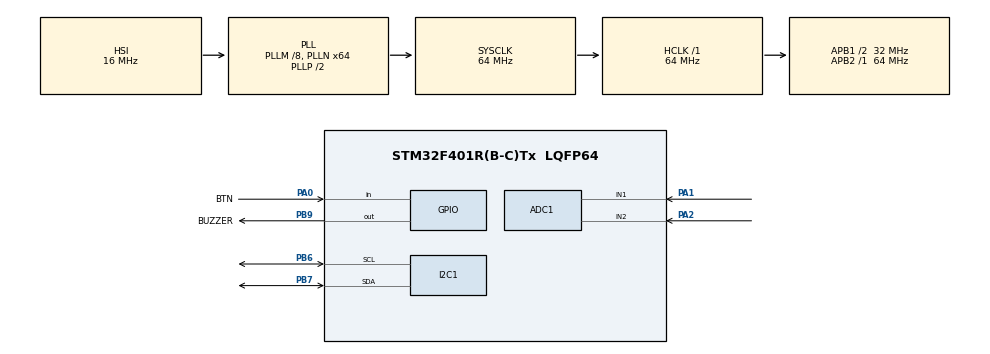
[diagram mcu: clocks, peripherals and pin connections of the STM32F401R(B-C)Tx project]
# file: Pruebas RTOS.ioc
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ADC1.Channel-0\#ChannelRegularConversion=ADC_CHANNEL_1
ADC1.NbrOfConversionFlag=1
ADC1.Rank-0\#ChannelRegularConversion=1
ADC1.SamplingTime-0\#ChannelRegularConversion=ADC_SAMPLETIME_3CYCLES
ADC1.master=1
I2C1.I2C_Mode=I2C_Fast
Mcu.Family=STM32F4
Mcu.Name=STM32F401R(B-C)Tx
Mcu.Package=LQFP64
NVIC.PriorityGroup=NVIC_PRIORITYGROUP_4
PA0-WKUP.GPIO_Label=BTN
PA0-WKUP.GPIO_PuPd=GPIO_PULLUP
PA0-WKUP.Signal=GPIO_Input
PA1.Signal=ADCx_IN1
PA2.Signal=ADCx_IN2
PB6.Mode=I2C
PB6.Signal=I2C1_SCL
PB7.Mode=I2C
PB7.Signal=I2C1_SDA
PB9.GPIO_Label=BUZZER
PB9.Signal=GPIO_Output
ProjectManager.HeapSize=0x200
ProjectManager.StackSize=0x400
ProjectManager.TargetToolchain=STM32CubeIDE
RCC.48MHZClocksFreq_Value=32000000
RCC.AHBFreq_Value=64000000
RCC.APB1CLKDivider=RCC_HCLK_DIV2
RCC.APB1Freq_Value=32000000
RCC.APB1TimFreq_Value=64000000
RCC.APB2Freq_Value=64000000
RCC.APB2TimFreq_Value=64000000
RCC.CortexFreq_Value=64000000
RCC.HCLKFreq_Value=64000000
RCC.HSE_VALUE=25000000
RCC.HSI_VALUE=16000000
RCC.LSE_VALUE=32768
RCC.PLLM=8
RCC.PLLN=64
RCC.SYSCLKFreq_VALUE=64000000
RCC.SYSCLKSource=RCC_SYSCLKSOURCE_PLLCLK
RCC.VCOOutputFreq_Value=128000000
SH.ADCx_IN1.0=ADC1_IN1,IN1
SH.ADCx_IN2.0=ADC1_IN2,IN2
board=custom

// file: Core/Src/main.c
/* USER CODE BEGIN Header */
/**
  ******************************************************************************
  * @file           : main.c
  * @brief          : Main program body
  ******************************************************************************
  * @attention
  *
  * Copyright (c) 2025 STMicroelectronics.
  * All rights reserved.
  *
  * This software is licensed under terms that can be found in the LICENSE file
  * in the root directory of this software component.
  * If no LICENSE file comes with this software, it is provided AS-IS.
  *
  ******************************************************************************
  */
/* USER CODE END Header */
#include "main.h"

/* USER CODE BEGIN Includes */
#include "RTOS.h"		// definicion de la libreria del RTOS
#include "AppTypes.h"	// definicion de las variables definidas
#include "ssd1306.h"	// definicion de la pantalla oled
#include "ssd1306_fonts.h" // definicion de fuentes
#include "stdlib.h"		// definicion para variables y absolutos
#include "stdio.h"		// definicion entradas y salidas
#include "string.h"		// definicion de funciones strings
/* USER CODE END Includes */

/* USER CODE BEGIN PTD */
typedef struct
{
	float ballX, ballY;					// posicion de la pelota en X y Y
	int ballRadio;						// radio de la pelota, si es circulo, puede ser la mitad del lado del cuadrado
	float ballSpeedX, ballSpeedY;		// velocidad de la pelota en X y Y
	int paddle1Y, paddle2Y;				// posicion de la raqueta izquierda y derecha, en esto se toma en la parte superiror izquierda
	int paddle_width, paddle_height;	// ancho y largo de la raqueta
	int score1, score2;					// marcador de la izquierda y la derecha
	u8 isRunning;						// si esta en ejecucion
	u8 resetBall;						// si se necesita resetear la pelota
}GameState_t;
/* USER CODE END PTD */

/* USER CODE BEGIN PD */
#define SCREEN_WIDTH 128	// ancho de la pantalla
#define SCREEN_HEIGHT 64	// alto de la pantalla

#define BIT_BTN_PRESSED		( 1 << 0)	// Input del boton

#define BIT_SND_START		(1 << 0)	// bit inicio
#define BIT_SND_PADDLE      (1 << 1)	// bit raqueta
#define BIT_SND_WALL        (1 << 2)	// bit muro
#define BIT_SND_SCORE       (1 << 3)	// bit gol
#define BIT_SND_MENU        (1 << 4)	// bit menu

#define BALL_SPEED		2.0f	// velocidad del juego

#define STACK_SIZE_HIGH		256
#define STACK_SIZE_MEDIUM	128
#define STACK_SIZE_LOW		64

// --- PANTALLA (I2C1) ---
// Definido por hardware en PB6 y PB7, no requiere define manual si usas HAL I2C

// --- ENTRADAS ANALÓGICAS ---
// Canales ADC1
#define POT1_CHANNEL    ADC_CHANNEL_1  // PA1
#define POT2_CHANNEL    ADC_CHANNEL_2  // PA2

// --- BOTÓN (PA0 - Botón KEY integrado) ---
#define BTN_PIN         GPIO_PIN_0
#define BTN_PORT        GPIOA

// --- BUZZER (PB12) ---
#define BUZZER_PIN      GPIO_PIN_12
#define BUZZER_PORT     GPIOB

// --- LED DE LA PLACA (PC13 - Lógica Invertida: LOW=ON) ---
#define LED_PIN         GPIO_PIN_13
#define LED_PORT        GPIOC
/* USER CODE END PD */

ADC_HandleTypeDef hadc1;

I2C_HandleTypeDef hi2c1;

/* USER CODE BEGIN PV */

// Creacion de las tareas
TaskControlBlock_t TcbInput;			// variable de control de tarea input
u32 StackInput[STACK_SIZE_LOW];			// variable de la pila de tarea input
TaskControlBlock_t TcbLogic;			// variable de control de tarea logica
u32 StackLogic[STACK_SIZE_MEDIUM];		// variable de la pila de tarea logica
TaskControlBlock_t TcbDisplay;			// variable de control de tarea display
u32 StackDisplay[STACK_SIZE_HIGH];		// variable de la pila de tarea display
TaskControlBlock_t TcbSound;			// variable de control de tarea sonido
u32 StackSound[STACK_SIZE_LOW];			// variable de la pila de tarea sonido

// Creacion de mutex
MutexHandler_t MutexJuego;				// mutex para manerar variables del juego entre logica input
EventHandler_t EventosSonido;			// eventos de sonido para cada colicion
EventHandler_t EventosInput;			// evento de entrada del boton para cambiar de start a menu

// variable global del juego
GameState_t Game;
/* USER CODE END PV */

void SystemClock_Config(void);
static void MX_GPIO_Init(void);
static void MX_ADC1_Init(void);
static void MX_I2C1_Init(void);
/* USER CODE BEGIN PFP */
// funciones de las tareas
void Tarea_Input(void);					// tarea de entrada
void Tarea_GameLogic(void);				// tarea logica del juego
void Tarea_Display(void);				// tarea del display
void Tarea_Sound(void);					// tarea del sonido

// funciones secundarias
void ResetBall(void);					// funcion de reseteo
void GenerarTono(u32 frecuencia, u32 duracion_ms);
void DrawMenu(int s1, int s2);	// funcion dibujo pantalla menu
void DrawGame(GameState_t *localGame);			// funcion dibujo pantalla jugable
/* USER CODE END PFP */

int main(void)
{

  /* MCU Configuration--------------------------------------------------------*/

  /* Reset of all peripherals, Initializes the Flash interface and the Systick. */
  HAL_Init();

  /* USER CODE BEGIN Init */
  ssd1306_Init();
  ssd1306_Fill(Black);
  ssd1306_UpdateScreen();

  Game.isRunning = FALSE;
  Game.resetBall = TRUE;
  Game.ballRadio = 3;
  Game.paddle_height = 12;
  Game.paddle_width = 4;
  Game.score1 = 0;
  Game.score2 = 0;
  /* USER CODE END Init */

  /* Configure the system clock */
  SystemClock_Config();

  /* Initialize all configured peripherals */
  MX_GPIO_Init();
  MX_ADC1_Init();
  MX_I2C1_Init();
  /* USER CODE BEGIN 2 */
  RTOS_Init();
  Mutex_Init(&MutexJuego);
  Events_Init(&EventosSonido);
  Events_Init(&EventosInput);
// tarea()
  Task_CreateTask(&TcbInput,"Tarea entrada de datos", 1, 1, StackInput, STACK_SIZE_LOW, Tarea_Input);
  Task_CreateTask(&TcbLogic,"Tarea logica de juego", 2, 2, StackLogic, STACK_SIZE_MEDIUM, Tarea_GameLogic);
  Task_CreateTask(&TcbDisplay,"Tarea visualizacion display", 3, 3, StackDisplay, STACK_SIZE_HIGH, Tarea_Display);
  Task_CreateTask(&TcbSound,"Tarea de sonido", 4, 4, StackSound, STACK_SIZE_LOW, Tarea_Sound);
  RTOS_Start();
  /* USER CODE END 2 */

  /* Infinite loop */
  while (1)
  {

  }
}

void SystemClock_Config(void)
{
  RCC_OscInitTypeDef RCC_OscInitStruct = {0};
  RCC_ClkInitTypeDef RCC_ClkInitStruct = {0};

  /** Configure the main internal regulator output voltage
  */
  __HAL_RCC_PWR_CLK_ENABLE();
  __HAL_PWR_VOLTAGESCALING_CONFIG(PWR_REGULATOR_VOLTAGE_SCALE2);

  /** Initializes the RCC Oscillators according to the specified parameters
  * in the RCC_OscInitTypeDef structure.
  */
  RCC_OscInitStruct.OscillatorType = RCC_OSCILLATORTYPE_HSI;
  RCC_OscInitStruct.HSIState = RCC_HSI_ON;
  RCC_OscInitStruct.HSICalibrationValue = RCC_HSICALIBRATION_DEFAULT;
  RCC_OscInitStruct.PLL.PLLState = RCC_PLL_ON;
  RCC_OscInitStruct.PLL.PLLSource = RCC_PLLSOURCE_HSI;
  RCC_OscInitStruct.PLL.PLLM = 8;
  RCC_OscInitStruct.PLL.PLLN = 64;
  RCC_OscInitStruct.PLL.PLLP = RCC_PLLP_DIV2;
  RCC_OscInitStruct.PLL.PLLQ = 4;
  if (HAL_RCC_OscConfig(&RCC_OscInitStruct) != HAL_OK)
  {
    Error_Handler();
  }

  /** Initializes the CPU, AHB and APB buses clocks
  */
  RCC_ClkInitStruct.ClockType = RCC_CLOCKTYPE_HCLK|RCC_CLOCKTYPE_SYSCLK
                              |RCC_CLOCKTYPE_PCLK1|RCC_CLOCKTYPE_PCLK2;
  RCC_ClkInitStruct.SYSCLKSource = RCC_SYSCLKSOURCE_PLLCLK;
  RCC_ClkInitStruct.AHBCLKDivider = RCC_SYSCLK_DIV1;
  RCC_ClkInitStruct.APB1CLKDivider = RCC_HCLK_DIV2;
  RCC_ClkInitStruct.APB2CLKDivider = RCC_HCLK_DIV1;

  if (HAL_RCC_ClockConfig(&RCC_ClkInitStruct, FLASH_LATENCY_2) != HAL_OK)
  {
    Error_Handler();
  }
}

static void MX_ADC1_Init(void)
{

  ADC_ChannelConfTypeDef sConfig = {0};

  /** Configure the global features of the ADC (Clock, Resolution, Data Alignment and number of conversion)
  */
  hadc1.Instance = ADC1;
  hadc1.Init.ClockPrescaler = ADC_CLOCK_SYNC_PCLK_DIV2;
  hadc1.Init.Resolution = ADC_RESOLUTION_12B;
  hadc1.Init.ScanConvMode = DISABLE;
  hadc1.Init.ContinuousConvMode = DISABLE;
  hadc1.Init.DiscontinuousConvMode = DISABLE;
  hadc1.Init.ExternalTrigConvEdge = ADC_EXTERNALTRIGCONVEDGE_NONE;
  hadc1.Init.ExternalTrigConv = ADC_SOFTWARE_START;
  hadc1.Init.DataAlign = ADC_DATAALIGN_RIGHT;
  hadc1.Init.NbrOfConversion = 1;
  hadc1.Init.DMAContinuousRequests = DISABLE;
  hadc1.Init.EOCSelection = ADC_EOC_SINGLE_CONV;
  if (HAL_ADC_Init(&hadc1) != HAL_OK)
  {
    Error_Handler();
  }

  /** Configure for the selected ADC regular channel its corresponding rank in the sequencer and its sample time.
  */
  sConfig.Channel = ADC_CHANNEL_1;
  sConfig.Rank = 1;
  sConfig.SamplingTime = ADC_SAMPLETIME_3CYCLES;
  if (HAL_ADC_ConfigChannel(&hadc1, &sConfig) != HAL_OK)
  {
    Error_Handler();
  }

}

static void MX_I2C1_Init(void)
{

  hi2c1.Instance = I2C1;
  hi2c1.Init.ClockSpeed = 400000;
  hi2c1.Init.DutyCycle = I2C_DUTYCYCLE_2;
  hi2c1.Init.OwnAddress1 = 0;
  hi2c1.Init.AddressingMode = I2C_ADDRESSINGMODE_7BIT;
  hi2c1.Init.DualAddressMode = I2C_DUALADDRESS_DISABLE;
  hi2c1.Init.OwnAddress2 = 0;
  hi2c1.Init.GeneralCallMode = I2C_GENERALCALL_DISABLE;
  hi2c1.Init.NoStretchMode = I2C_NOSTRETCH_DISABLE;
  if (HAL_I2C_Init(&hi2c1) != HAL_OK)
  {
    Error_Handler();
  }

}

static void MX_GPIO_Init(void)
{
  GPIO_InitTypeDef GPIO_InitStruct = {0};

  /* GPIO Ports Clock Enable */
  __HAL_RCC_GPIOA_CLK_ENABLE();
  __HAL_RCC_GPIOB_CLK_ENABLE();

  /*Configure GPIO pin Output Level */
  HAL_GPIO_WritePin(BUZZER_GPIO_Port, BUZZER_Pin, GPIO_PIN_RESET);

  /*Configure GPIO pin : BTN_Pin */
  GPIO_InitStruct.Pin = BTN_Pin;
  GPIO_InitStruct.Mode = GPIO_MODE_INPUT;
  GPIO_InitStruct.Pull = GPIO_PULLUP;
  HAL_GPIO_Init(BTN_GPIO_Port, &GPIO_InitStruct);

  /*Configure GPIO pin : BUZZER_Pin */
  GPIO_InitStruct.Pin = BUZZER_Pin;
  GPIO_InitStruct.Mode = GPIO_MODE_OUTPUT_PP;
  GPIO_InitStruct.Pull = GPIO_NOPULL;
  GPIO_InitStruct.Speed = GPIO_SPEED_FREQ_LOW;
  HAL_GPIO_Init(BUZZER_GPIO_Port, &GPIO_InitStruct);

}

/* USER CODE BEGIN 4 */
void Tarea_Input(void)
{
	u32 adc1_val = 0, adc2_val = 0;	// valores de los pots ADC 4096
	GPIO_PinState btnState, lastBtnState = GPIO_PIN_SET;	// variable estado de boton y antirebote debouncing
	u32 lastDebounce = 0;
	while(1)
	{
		// leer los potenciometros
		HAL_ADC_Start(&hadc1);	// abre el primer canal para adc
		if(HAL_ADC_PollForConversion(&hadc1, 10) == HAL_OK)
		{
			adc1_val = HAL_ADC_GetValue(&hadc1);	// primer canal leido
		}
		if(HAL_ADC_PollForConversion(&hadc1, 10) == HAL_OK)
		{
			adc2_val = HAL_ADC_GetValue(&hadc1);	// segundo canal leido
		}
		HAL_ADC_Stop(&hadc1);	// detiene el adc
		// actualizar datos mutex
		if(Mutex_Take(&MutexJuego) == MUTEX_OK)	// espera para acceder al mutex y editar variables globales
		{
			// Mapeo simple: (ValorADC * (Pantalla - AltoPaleta)) / MaxADC
			Game.paddle1Y = (adc1_val * (SCREEN_HEIGHT - Game.paddle_height)) / 4095;
			Game.paddle2Y = (adc2_val * (SCREEN_HEIGHT - Game.paddle_height)) / 4095;
			Mutex_Give(&MutexJuego);	// libera el mutex
		}
		// Lee el estado actual del pin del botón
		btnState = HAL_GPIO_ReadPin(BTN_PORT, BTN_PIN);
		// Verifica si el estado actual es diferente al estado anterior (cambio de flanco)
		if(btnState != lastBtnState)
		{
			// Comprueba si ha pasado suficiente tiempo (50ms) desde el último cambio válido (antirrebote)
			if((Port_GetSystemTick() - lastDebounce) > 50)
			{
				if(btnState == GPIO_PIN_RESET) // Si el estado actual es "presionado" (pull-up)
				{
					Events_Set(&EventosInput, BIT_BTN_PRESSED);	// Señaliza el evento de pulsación de boton a otras Tareas
				}
				lastDebounce = Port_GetSystemTick();	// Actualiza el tick del último cambio valido del antirebote :)
			}
		}
		lastBtnState = btnState;	// Actualiza el estado anterior para la próxima iteracion
		RTOS_Delay(20);
	}
}
void Tarea_GameLogic(void)
{
	u8 localRunning;	// bandera local para evitar el uso de mutex
	EventType_t eventBits;	// almacenar los bits del evento
	while(1)
	{
		Events_Get(&EventosInput, &eventBits);	// revisa el boton para el cambio de juego y menu
		if(eventBits & BIT_BTN_PRESSED)	// ver estado del juego al oprimir el boton
		{
			Events_Clear(&EventosInput, BIT_BTN_PRESSED);	// limpia el bit de evento
			localRunning = !localRunning;	// alterna el estado de la bandera
			if(Mutex_Take(&MutexJuego) == MUTEX_OK)	// espera para tomar el mutex
			{
				Game.isRunning = localRunning;	// sincroniza el estado global
				if(localRunning)	// si se cambia a jugar
				{
					ResetBall();		// acomodar todo desde 0
					Game.score1 = 0;
					Game.score2 = 0;
					Events_Set(&EventosSonido, BIT_SND_START);	// evento de sonido start
				}
				else	// si se cambia a menu
				{
					Events_Set(&EventosSonido, BIT_SND_MENU);	// evento de sonido menu
				}
				Mutex_Give(&MutexJuego);	// suelta el mutex
			}
		}
		// ====================================fisicas=========================================
		if(localRunning)	// si se esta jugando
		{
			if(Mutex_Take(&MutexJuego) == MUTEX_OK)	// tomar el mutex
			{
				if(Game.resetBall)	// si se necesita resetear
				{
					ResetBall();	// resetea juego
					Mutex_Give(&MutexJuego);	// soltar el mutex
					RTOS_Delay(10);
					continue;
				}
				Game.ballX += Game.ballSpeedX;	// movimiento en X y Y
				Game.ballY += Game.ballSpeedY;
				// =================================rebote techo y piso=================================
				if(Game.ballY - Game.ballRadio <= 0 || Game.ballY + Game.ballRadio >= SCREEN_HEIGHT)
				{
					Game.ballSpeedY = (Game.ballSpeedY > 0) ? -BALL_SPEED : BALL_SPEED;	// cambiar la direccion
					Game.ballY = (Game.ballSpeedY > 0) ? SCREEN_HEIGHT-Game.ballRadio : Game.ballRadio;	// cambiar la posicion para no parecer que atravieza la pared
					Events_Set(&EventosSonido, BIT_SND_WALL);
				}
				// =================================rebote izquierda=================================
				if((Game.ballX - Game.ballRadio) <= (2 + Game.paddle_width))
				{
					if((Game.ballY >= Game.paddle1Y) && (Game.ballY <= (Game.paddle1Y + Game.paddle_height)))
					{
						Game.ballSpeedX = BALL_SPEED;	// rebota la pelota
						Game.ballX = (2 + Game.paddle_width) + Game.ballRadio + 1;	// acomoda la posicion
						Events_Set(&EventosSonido, BIT_SND_PADDLE);	// evento de sonido de rebote
					}
				}
				// =================================rebote Derecha=================================
				if((Game.ballX + Game.ballRadio) >= (SCREEN_WIDTH - 2 - Game.paddle_width))
				{
					if((Game.ballY >= Game.paddle2Y) && (Game.ballY <= (Game.paddle2Y + Game.paddle_height)))
					{
						Game.ballSpeedX = -BALL_SPEED;	// rebota la pelota
						Game.ballX = SCREEN_WIDTH - 2 - Game.paddle_width - Game.ballRadio - 1;	// acomoda la posicion
						Events_Set(&EventosSonido, BIT_SND_PADDLE);	// evento de sonido de rebote
					}
				}
				// Goles
				if(Game.ballX < -Game.ballRadio || Game.ballX > SCREEN_WIDTH + Game.ballRadio)	// que se meta la pelota lit
				{
					Game.resetBall = TRUE;	// marca reinicio al centro
					if(Game.ballX < 0)
					{
						Game.score2++;
					}
					else
					{
						Game.score1++;
					}
					Events_Set(&EventosSonido, BIT_SND_SCORE);	// evento de sonido de gol
				}

				Mutex_Give(&MutexJuego);	// libera el mutex
			}
		}
		RTOS_Delay(10);
	}
}
void Tarea_Display(void)
{
	GameState_t localGame;	// libera el mutex usando una copia
	while(1)
	{
		if(Mutex_Take(&MutexJuego) == MUTEX_OK)	// quiere usar el mutex
		{
			memcpy(&localGame, &Game, sizeof(GameState_t));	// destino-funete-bytes para copiar bytes
			Mutex_Give(&MutexJuego);	// libera mutex
		}
		ssd1306_Fill(Black);	// limpiar el buffer - pantalla limpia
		if(localGame.isRunning)	// si esta jugando
		{
			DrawGame(&localGame);	// dibuje el juego
		}
		else
		{
			DrawMenu(localGame.score1, localGame.score2);	// dibuje el menu
		}
		ssd1306_UpdateScreen();	// actualice pantalla
		RTOS_Delay(30);
	}
}
void Tarea_Sound(void)
{
	EventType_t bits;	// guardar los bits de evento activos
	EventType_t mask = BIT_SND_START | BIT_SND_PADDLE | BIT_SND_WALL | BIT_SND_SCORE | BIT_SND_MENU;	// mascara de bits
	while(1)
	{
		// Esperar evento (OR lógico)
		if(Events_WaitAny(&EventosSonido, mask) == EVENT_OK)	// espera que cualquiera de los bits cambie
		{
			Events_Get(&EventosSonido, &bits);	// extrae los bits para saber cual cambio
			if(bits & BIT_SND_START) {
				GenerarTono(1000, 100);
				GenerarTono(1500, 200);
			}
			else if(bits & BIT_SND_SCORE) {
				GenerarTono(523, 100);
				GenerarTono(659, 100);
				GenerarTono(784, 100);
				GenerarTono(1046, 200);
			}
			else if(bits & BIT_SND_PADDLE) {
				GenerarTono(440, 50);
			}
			else if(bits & BIT_SND_WALL) {
				GenerarTono(220, 50);
			}
			else if(bits & BIT_SND_MENU) {
				GenerarTono(300, 150);
				GenerarTono(200, 300);
			}
			Events_Clear(&EventosSonido, mask);	// limpia para otro evento
		}
	}
}

void DrawGame(GameState_t * game)
{
	// Dibujar Bola
	ssd1306_FillCircle((int)game->ballX, (int)game->ballY, game->ballRadio, White);
	// Dibujar raqueta Izquierda
	ssd1306_FillRectangle(2, game->paddle1Y, game->paddle_width, game->paddle_height, White);
	// Dibujar raqueta Derecha
	ssd1306_FillRectangle(SCREEN_WIDTH - 2 - game->paddle_width, game->paddle2Y, game->paddle_width, game->paddle_height, White);
	// Línea Central
	ssd1306_Line(SCREEN_WIDTH / 2, 0, SCREEN_WIDTH / 2, SCREEN_HEIGHT, White);
	// Puntajes (Usando las fuentes de afiskon)
	char buffer[5];
	// Izquierda
	sprintf(buffer, "%d", game->score1);	// String Print Formatted usa buffer para copiar un valor en un formato
	ssd1306_SetCursor(SCREEN_WIDTH/2 - 20, 0);
	ssd1306_WriteString(buffer, Font_7x10, White);
	// Derecha
	sprintf(buffer, "%d", game->score2);
	ssd1306_SetCursor(SCREEN_WIDTH/2 + 10, 0);
	ssd1306_WriteString(buffer, Font_7x10, White);
}

void DrawMenu(int s1, int s2)
{
	ssd1306_SetCursor(15, 10);
	ssd1306_WriteString("PONG RTOS", Font_11x18, White);
	ssd1306_SetCursor(25, 35);
	ssd1306_WriteString("[PRESS BTN]", Font_7x10, White);
	char buf[20];
	sprintf(buf, "LAST: %d - %d", s1, s2);
	ssd1306_SetCursor(25, 50);
	ssd1306_WriteString(buf, Font_7x10, White);
}

void GenerarTono(u32 freq, u32 duration_ms)
{
	if(freq == 0)	// verificar si no hay tono que esperar
	{
		return;
	}
	// ne necesita exponer ondas cuadradas
	u32 period = 1000000 / freq; 		// Periodo en us
	u32 half_period = period / 2;		// ciclo de trabajo onda
	u32 cycles = (duration_ms * 1000) / period;	// numero total de la onda

	// Loop simple para generar onda cuadrada
	// Nota: Esto bloquea la Tarea Sonido (Prio Baja), lo cual está bien.
	// La calibración del loop depende de la velocidad del reloj (100MHz aprox)
	// Ajustar el '6' si suena muy grave o agudo.
	for(u32 i=0; i<cycles; i++)
	{
		HAL_GPIO_WritePin(BUZZER_PORT, BUZZER_PIN, GPIO_PIN_SET);	// pin en alto para iniciar semiperiodo HIGH
		for(volatile int k=0; k<(half_period * 6); k++);	// retraso para dutty

		HAL_GPIO_WritePin(BUZZER_PORT, BUZZER_PIN, GPIO_PIN_RESET);	// pin en bajo para iniciar semiperiodo LOW
		for(volatile int k=0; k<(half_period * 6); k++);	// retraso para dutty
	}
}

void ResetBall(void)
{
	Game.ballX = SCREEN_WIDTH / 2;
	Game.ballY = SCREEN_HEIGHT / 2;
	Game.ballSpeedX = (rand() % 2 == 0) ? BALL_SPEED : -BALL_SPEED;
	Game.ballSpeedY = (rand() % 2 == 0) ? BALL_SPEED : -BALL_SPEED;
	Game.resetBall = FALSE;
}

/* USER CODE END 4 */

void Error_Handler(void)
{
  __disable_irq();
  while (1)
  {
  }
}
